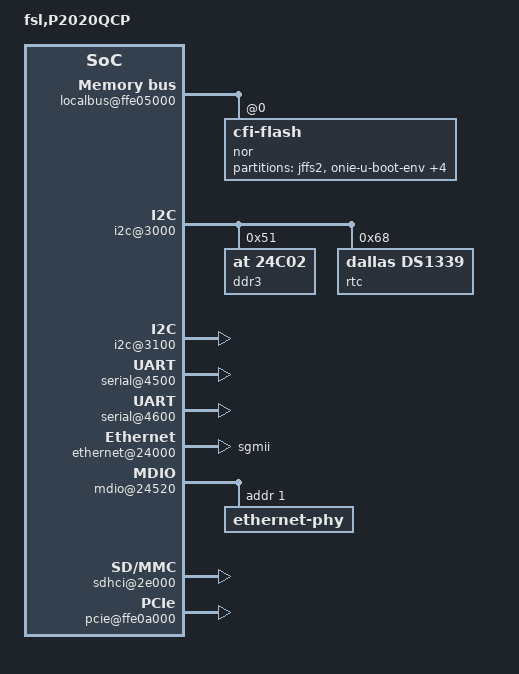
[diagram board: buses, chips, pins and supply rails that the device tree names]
/dts-v1/;

/ {
	compatible = "fsl,P2020QCP";
	#address-cells = <0x2>;
	#size-cells = <0x2>;
	interrupt-parent = <0x1>;
	model = "fsl,P2020QCP";

	cpus {
		power-isa-version = "2.03";
		power-isa-b;
		power-isa-e;
		power-isa-atb;
		power-isa-cs;
		power-isa-e.le;
		power-isa-e.pm;
		power-isa-ecl;
		power-isa-mmc;
		power-isa-sp;
		power-isa-sp.fd;
		power-isa-sp.fs;
		power-isa-sp.fv;
		mmu-type = "power-embedded";
		#address-cells = <0x1>;
		#size-cells = <0x0>;

		PowerPC,P2020@0 {
			device_type = "cpu";
			reg = <0x0>;
			next-level-cache = <0x1>;
		};

		PowerPC,P2020@1 {
			device_type = "cpu";
			reg = <0x1>;
			next-level-cache = <0x1>;
		};
	};

	aliases {
		serial0 = "/soc@ffe00000/serial@4500";
		serial1 = "/soc@ffe00000/serial@4600";
		ethernet0 = "/soc@ffe00000/ethernet@24000";
		pci2 = "/pcie@ffe0a000";
	};

	memory {
		device_type = "memory";
	};

	localbus@ffe05000 {
		#address-cells = <0x2>;
		#size-cells = <0x1>;
		compatible = "fsl,p2020-elbc", "fsl,elbc", "simple-bus";
		reg = <0x0 0xffe05000 0x0 0x1000>;
		interrupts = <0x13 0x2 0x0 0x0>;
		ranges = <0x0 0x0 0x0 0xec000000 0x4000000>;

		nor@0,0 {
			#address-cells = <0x1>;
			#size-cells = <0x1>;
			compatible = "cfi-flash";
			reg = <0x0 0x0 0x4000000>;
			bank-width = <0x2>;
			device-width = <0x1>;

			partition@2000000 {
				reg = <0x2400000 0x1760000>;
				label = "jffs2";
			};

			partition@3f60000 {
				reg = <0x3f60000 0x20000>;
				label = "onie-u-boot-env";
			};

			partition@3f80000 {
				reg = <0x3f80000 0x80000>;
				label = "onie-u-boot";
			};

			partition@0 {
				reg = <0x0 0x1200000>;
				label = "image1";
			};

			partition@1000000 {
				reg = <0x1200000 0x1200000>;
				label = "image2";
			};

			partition@3b60000 {
				reg = <0x3b60000 0x4a0000>;
				label = "onie";
			};
		};
	};

	soc@ffe00000 {
		#address-cells = <0x1>;
		#size-cells = <0x1>;
		device_type = "soc";
		compatible = "fsl,p2020-immr", "simple-bus";
		ranges = <0x0 0x0 0xffe00000 0x100000>;
		bus-frequency = <0x0>;

		memory-controller@2000 {
			compatible = "fsl,p2020-memory-controller";
			reg = <0x2000 0x1000>;
			interrupts = <0x12 0x2 0x0 0x0>;
		};

		i2c@3000 {
			#address-cells = <0x1>;
			#size-cells = <0x0>;
			cell-index = <0x0>;
			compatible = "fsl-i2c";
			reg = <0x3000 0x100>;
			interrupts = <0x2b 0x2 0x0 0x0>;
			interrupt-parent = <0x2>;
			dfsrr;

			ddr3@51 {
				compatible = "at,24c02";
				reg = <0x51>;
			};

			rtc@68 {
				compatible = "dallas,ds1339";
				reg = <0x68>;
			};
		};

		i2c@3100 {
			#address-cells = <0x1>;
			#size-cells = <0x0>;
			cell-index = <0x1>;
			compatible = "fsl-i2c";
			reg = <0x3100 0x100>;
			interrupts = <0x2b 0x2>;
			interrupt-parent = <0x2>;
			dfsrr;
		};

		serial@4500 {
			cell-index = <0x0>;
			device_type = "serial";
			compatible = "fsl,ns16550", "ns16550";
			reg = <0x4500 0x100>;
			clock-frequency = <0x0>;
			interrupts = <0x2a 0x2 0x0 0x0>;
		};

		serial@4600 {
			cell-index = <0x1>;
			device_type = "serial";
			compatible = "fsl,ns16550", "ns16550";
			reg = <0x4600 0x100>;
			clock-frequency = <0x0>;
			interrupts = <0x2a 0x2 0x0 0x0>;
		};

		l2-cache-controller@20000 {
			compatible = "fsl,p2020-l2-cache-controller";
			reg = <0x20000 0x1000>;
			cache-line-size = <0x20>;
			cache-size = <0x80000>;
			cache-sram-addr = <0x80000000>;
			interrupt-parent = <0x2>;
			interrupts = <0x10 0x2>;
			linux,phandle = <0x1>;
		};

		ethernet@24000 {
			#address-cells = <0x1>;
			#size-cells = <0x1>;
			cell-index = <0x0>;
			device_type = "network";
			model = "eTSEC";
			compatible = "gianfar";
			reg = <0x24000 0x1000>;
			ranges = <0x0 0x24000 0x1000>;
			local-mac-address = [00 00 00 00 00 00];
			interrupts = <0x1d 0x2 0x1e 0x2 0x22 0x2>;
			interrupt-parent = <0x2>;
			phy-connection-type = "sgmii";
			phy-handle = <0x3>;
		};

		mdio@24520 {
			#address-cells = <0x1>;
			#size-cells = <0x0>;
			compatible = "fsl,gianfar-mdio";
			reg = <0x24520 0x20>;

			ethernet-phy@0 {
				reg = <0x1>;
				device_type = "ethernet-phy";
				linux,phandle = <0x3>;
				phandle = <0x3>;
			};
		};

		sdhci@2e000 {
			compatible = "fsl,p2020-esdhc", "fsl,esdhc";
			reg = <0x2e000 0x1000>;
			interrupts = <0x48 0x2>;
			interrupt-parent = <0x2>;
			clock-frequency = <0x0>;
		};

		pic@40000 {
			interrupt-controller;
			#address-cells = <0x0>;
			#interrupt-cells = <0x2>;
			reg = <0x40000 0x40000>;
			compatible = "chrp,open-pic";
			device_type = "open-pic";
			linux,phandle = <0x2>;
		};

		msi@41600 {
			compatible = "fsl,mpic-msi";
			reg = <0x41600 0x80>;
			msi-available-ranges = <0x0 0x100>;
			interrupts = <0xe0 0x0 0xe1 0x0 0xe2 0x0 0xe3 0x0 0xe4 0x0 0xe5 0x0 0xe6 0x0 0xe7 0x0>;
			interrupt-parent = <0x2>;
		};

		global-utilities@e0000 {
			compatible = "fsl,p2020-guts", "fsl,mpc8548-guts";
			reg = <0xe0000 0x1000>;
			fsl,has-rstcr;
		};
	};

	pcie@ffe0a000 {
		compatible = "fsl,mpc8548-pcie";
		device_type = "pci";
		#interrupt-cells = <0x1>;
		#size-cells = <0x2>;
		#address-cells = <0x3>;
		reg = <0x0 0xffe0a000 0x0 0x1000>;
		bus-range = <0x0 0xff>;
		ranges = <0x2000000 0x0 0xc0000000 0x0 0xc0000000 0x0 0x20000000 0x1000000 0x0 0x0 0x0 0xffc20000 0x0 0x10000>;
		clock-frequency = <0x1fca055>;
		interrupt-parent = <0x2>;
		interrupts = <0x1a 0x2>;
		interrupt-map-mask = <0xf800 0x0 0x0 0x7>;
		interrupt-map = <0x0 0x0 0x0 0x1 0x2 0x0 0x1 0x0 0x0 0x0 0x2 0x2 0x1 0x1 0x0 0x0 0x0 0x3 0x2 0x2 0x1 0x0 0x0 0x0 0x4 0x2 0x3 0x1>;

		pcie@0 {
			#size-cells = <0x2>;
			#address-cells = <0x3>;
			reg = <0x0 0x0 0x0 0x0 0x0>;
			device_type = "pci";
			ranges = <0x2000000 0x0 0xc0000000 0x2000000 0x0 0xc0000000 0x0 0x20000000 0x1000000 0x0 0x0 0x1000000 0x0 0x0 0x0 0x10000>;
		};
	};
};
